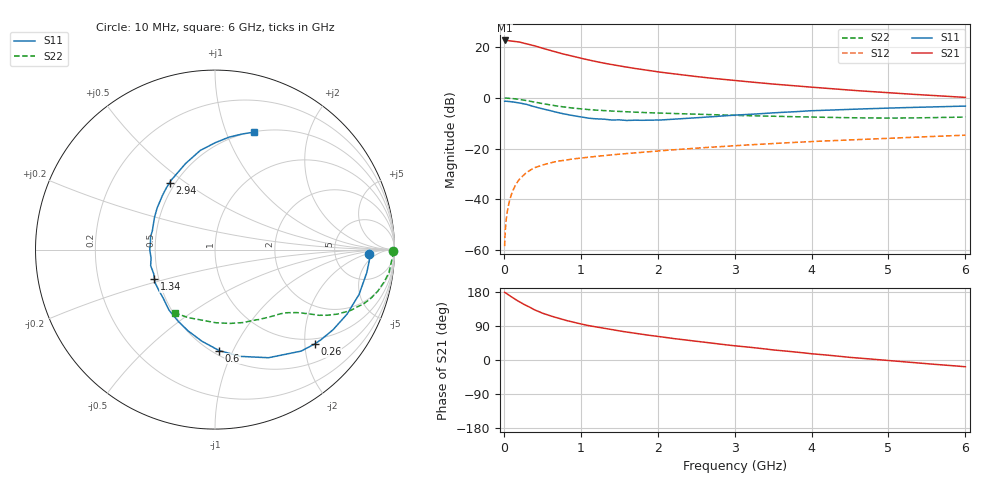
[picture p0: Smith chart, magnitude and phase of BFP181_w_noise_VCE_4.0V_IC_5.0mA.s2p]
! Infineon Technologies  Discrete & RF Semiconductors
! BFP181
! VCE = 4.0 V,  IC =  5.0 mA
! Common Emitter S-Parameters:  Jan 2016
# GHz  S  MA  R  50
!  f  S11  S21  S12  S22
! GHz  MAG  ANG  MAG  ANG  MAG  ANG  MAG  ANG
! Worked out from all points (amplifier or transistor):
!   210 points, 10 MHz to 6 GHz, reference 50 ohm
!   highest |S21| = 22.6 dB at 10 MHz (marker M1)
!   |S21| within 3 dB of that: start of sweep to 495.9 MHz
!   unconditionally stable (mu >= 1): 1.723 GHz to end of sweep
!   at 185 MHz: K = 0.17, MSG = 27.4 dB, |S12| = -32.8 dB
!   at 1.52 GHz: K = 0.93, MSG = 17.3 dB, |S12| = -22.1 dB
!   at 6 GHz: K = 1.05, MAG = 6.0 dB, |S12| = -14.7 dB
!   lowest NFmin = 1.55 dB at 450 MHz
!   S11 on the Smith chart (normalised r, x): 10 MHz: 12, -3; 260 MHz: 0.87, -2.21; 600 MHz: 0.54, -0.89; 1.34 GHz: 0.47, -0.18; 2.94 GHz: 0.47, +0.44; 6 GHz: 0.50, +1.26
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0.01  0.857 -1.8  13.52 178.5  0.0012 86.1  0.991 -0.6
0.02  0.8624 -3.8  13.49 177.5  0.0026 87.2  0.9925 -1.5
0.045  0.8561 -7.8  13.48 173.9  0.0058 87.3  0.9866 -3.4
0.15  0.819 -26.0  12.89 160.0  0.0189 75.5  0.9581 -11.0
0.2  0.7952 -34.1  12.61 153.7  0.0247 71.8  0.9355 -14.4
0.26  0.7645 -43.5  11.93 146.9  0.0304 66.9  0.9036 -18.0
0.4  0.672 -63.7  10.6 132.3  0.0422 58.5  0.8247 -24.4
0.5  0.6116 -76.6  9.532 123.7  0.0475 53.4  0.7723 -27.7
0.6  0.5633 -87.6  8.65 116.8  0.0524 50.1  0.7267 -30.2
0.7  0.5154 -98.2  7.782 110.5  0.0565 47.8  0.6889 -32.1
0.8  0.4771 -108.3  7.153 104.8  0.0593 45.3  0.6571 -33.4
1.02  0.4177 -128.8  5.939 94.4  0.0657 42.6  0.6033 -35.9
1.12  0.3951 -137.1  5.522 90.1  0.0685 41.4  0.5858 -36.9
1.34  0.375 -154.1  4.712 82.4  0.074 40.1  0.557 -39.1
1.68  0.3622 -178.3  3.85 71.2  0.0819 39.2  0.5252 -42.4
2.02  0.3656 162.0  3.233 61.7  0.0904 38.0  0.5023 -46.1
2.4  0.3972 144.2  2.744 51.8  0.0997 36.4  0.4824 -51.1
2.94  0.4501 124.2  2.245 38.9  0.1126 33.9  0.4554 -59.2
3.1  0.4653 119.3  2.13 35.6  0.1165 33.1  0.4483 -61.8
4.1  0.5647 96.7  1.582 14.8  0.1401 27.3  0.4162 -80.6
5.1  0.6365 81.7  1.235 -3.1  0.1619 21.5  0.4005 -102.4
6  0.6891 71.7  1.023 -17.8  0.1841 15.5  0.4184 -122.6
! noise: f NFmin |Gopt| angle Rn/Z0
0.45  1.55  0.48  17  0.36
0.9  1.65  0.4  35  0.34
1.8  2  0.18  88  0.34
